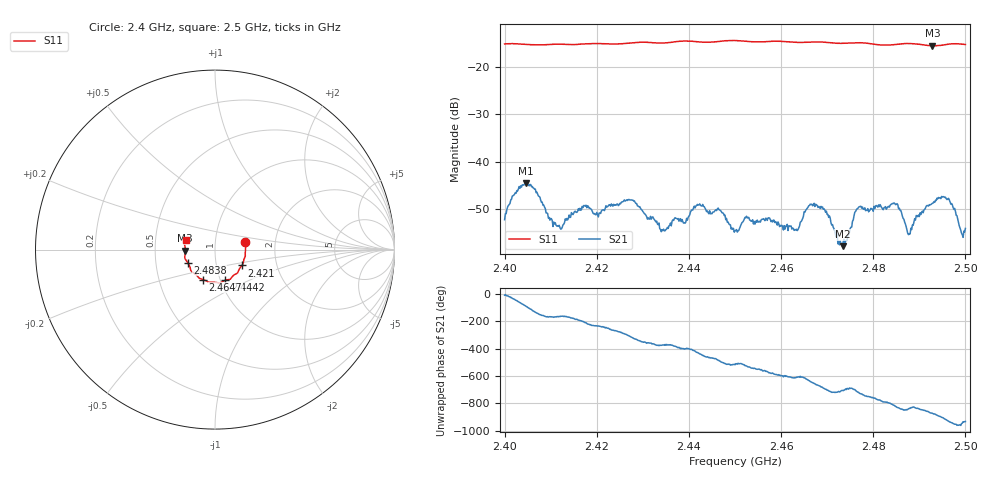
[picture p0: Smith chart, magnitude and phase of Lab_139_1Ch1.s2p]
# Hz S RI R 50
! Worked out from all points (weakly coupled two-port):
!   601 points, 2.4 GHz to 2.5 GHz, reference 50 ohm
!   highest |S21| = -44.62 dB at 2.4047 GHz (marker M1); lowest = -57.8 dB at 2.4733 GHz (marker M2)
!   lowest |S11| = -15.6 dB at 2.4928 GHz (marker M3), VSWR 1.40, Z = 35.8 - j0.372 ohm
!   |S11| at or under -10 dB: start of sweep to end of sweep
!   S12 and S22 are empty: the file has one direction only
!   S11 on the Smith chart (normalised r, x): 2.4 GHz: 1.40, +0.12; 2.421 GHz: 1.33, -0.24; 2.4442 GHz: 1.05, -0.37; 2.4647 GHz: 0.83, -0.29; 2.4838 GHz: 0.73, -0.11; 2.5 GHz: 0.72, +0.08
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2.4e9  0.1683 0.0406  0.00241 -0.000376  0 0  0 0
2.404667e9  0.1704 0.0122  -0.00012 -0.00588  0 0  0 0
2.411833e9  0.168 -0.0375  -0.00205 -0.000571  0 0  0 0
2.416667e9  0.1586 -0.0681  -0.00297 0.000923  0 0  0 0
2.421e9  0.1505 -0.0882  -0.00147 0.00263  0 0  0 0
2.427333e9  0.1296 -0.121  0.00271 0.00286  0 0  0 0
2.433333e9  0.1081 -0.1401  0.00209 -0.000552  0 0  0 0
2.444167e9  0.0569 -0.1712  -0.000656 -0.00282  0 0  0 0
2.45e9  0.0244 -0.1863  -0.00174 -0.00069  0 0  0 0
2.4525e9  0.0126 -0.1842  -0.00259 -0.000582  0 0  0 0
2.463333e9  -0.0566 -0.171  -0.000667 0.00182  0 0  0 0
2.464667e9  -0.0672 -0.1668  -0.000904 0.00234  0 0  0 0
2.466667e9  -0.0803 -0.1625  0.00102 0.00341  0 0  0 0
2.4695e9  -0.0916 -0.1556  0.0028 0.0013  0 0  0 0
2.473333e9  -0.1101 -0.137  0.00125 0.000311  0 0  0 0
2.476833e9  -0.1315 -0.1204  0.0033 -4.02e-05  0 0  0 0
2.483333e9  -0.1502 -0.0762  0.000746 -0.00329  0 0  0 0
2.483833e9  -0.1529 -0.072  0.000351 -0.00351  0 0  0 0
2.487833e9  -0.1678 -0.0485  -0.000807 -0.00154  0 0  0 0
2.492833e9  -0.1656 -0.00506  -0.00326 -0.00161  0 0  0 0
2.496167e9  -0.1695 0.0271  -0.00357 0.00183  0 0  0 0
2.5e9  -0.1627 0.0528  -0.00163 0.0011  0 0  0 0
